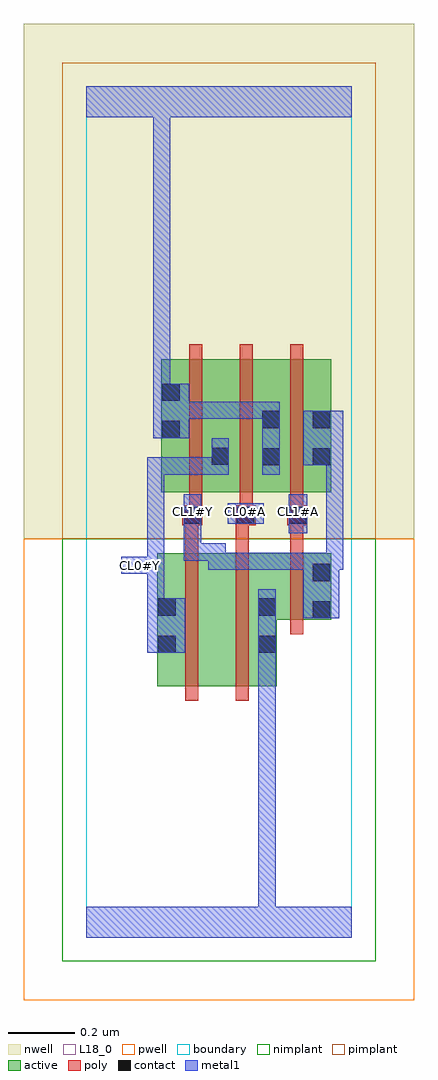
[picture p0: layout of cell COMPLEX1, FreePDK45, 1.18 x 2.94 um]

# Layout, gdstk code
import gdstk
lib = gdstk.Library(unit=1e-6, precision=1e-09)
def R(c, l, rs):  # rectangles x0, y0, x1, y1
    for r in rs: c.add(gdstk.rectangle(r[:2], r[2:], *l))
def A(c, l, x, y, w, h, nx, ny, dx, dy):  # array of equal rectangles
    R(c, l, [(x+i*dx, y+j*dy, x+i*dx+w, y+j*dy+h) for i in range(nx) for j in range(ny)])
active = (1, 0)
pwell = (2, 0)
nwell = (3, 0)
nimplant = (4, 0)
pimplant = (5, 0)
poly = (9, 0)
contact = (10, 0)
metal1 = (11, 0)
L18_0 = (18, 0)
boundary = (235, 0)

complex1 = lib.new_cell('COMPLEX1')
R(complex1, active, [(0.214,0.756,0.274,1.156), (0.214,0.756,0.394,1.156), (0.394,0.756,0.574,1.156), (0.514,0.756,0.574,1.156), (0.514,0.956,0.738,1.156), (0.678,0.956,0.738,1.156), (0.226,1.34,0.286,1.74), (0.226,1.34,0.434,1.74), (0.374,1.34,0.586,1.74), (0.374,1.34,0.434,1.644), (0.526,1.34,0.738,1.74), (0.526,1.34,0.586,1.644), (0.678,1.34,0.738,1.74)])
R(complex1, pwell, [(-0.188,-0.188,0.988,1.2)])
R(complex1, nwell, [(-0.188,1.2,0.988,2.748)])
R(complex1, nimplant, [(-0.072,-0.072,0.872,1.2)])
R(complex1, pimplant, [(-0.072,1.2,0.872,2.632)])
A(complex1, poly, 0.31, 1.26, 0.04, 0.076, 3, 1, 0.152, 0)
A(complex1, poly, 0.31, 1.296, 0.04, 0.488, 3, 1, 0.152, 0)
R(complex1, poly, [(0.298,0.712,0.338,1.2), (0.45,0.712,0.49,1.2), (0.614,0.912,0.654,1.2), (0.298,1.16,0.338,1.28), (0.45,1.16,0.49,1.28), (0.614,1.16,0.654,1.28), (0.29,1.24,0.35,1.3), (0.45,1.24,0.49,1.28), (0.45,1.24,0.49,1.28), (0.45,1.24,0.51,1.3), (0.606,1.24,0.666,1.3), (0.614,1.24,0.654,1.28), (0.614,1.24,0.654,1.28), (0.31,1.26,0.35,1.3), (0.31,1.26,0.35,1.3)])
R(complex1, contact, [(0.218,0.856,0.27,0.908), (0.518,0.856,0.57,0.908), (0.682,0.96,0.734,1.012), (0.218,0.968,0.27,1.02), (0.518,0.968,0.57,1.02), (0.682,1.072,0.734,1.124), (0.294,1.244,0.346,1.296), (0.454,1.244,0.506,1.296), (0.61,1.244,0.662,1.296), (0.53,1.42,0.582,1.472), (0.682,1.42,0.734,1.472), (0.378,1.422,0.43,1.474), (0.23,1.502,0.282,1.554), (0.53,1.532,0.582,1.584), (0.682,1.532,0.734,1.584), (0.23,1.614,0.282,1.666)])
R(complex1, metal1, [(0,0,0.8,0.092), (0.518,0.04,0.57,0.092), (0.518,0.04,0.57,0.092), (0.518,0.04,0.57,0.092), (0.518,0.04,0.57,0.092), (0.518,0.04,0.57,0.88), (0.518,0.828,0.57,0.88), (0.518,0.828,0.57,0.88), (0.518,0.828,0.57,0.88), (0.518,0.828,0.57,0.88), (0.518,0.828,0.57,0.88), (0.518,0.828,0.57,0.88), (0.518,0.828,0.57,0.88), (0.518,0.828,0.57,0.88), (0.518,0.828,0.57,1.048), (0.184,0.856,0.298,1.02), (0.654,0.96,0.762,1.124), (0.184,0.968,0.236,1.146), (0.71,1.072,0.762,1.158), (0.106,1.094,0.236,1.146), (0.184,1.094,0.236,1.444), (0.368,1.106,0.53,1.158), (0.368,1.106,0.42,1.186), (0.478,1.106,0.53,1.158), (0.478,1.106,0.53,1.158), (0.478,1.106,0.53,1.158), (0.478,1.106,0.762,1.158), (0.71,1.106,0.762,1.158), (0.71,1.106,0.762,1.158), (0.71,1.106,0.774,1.158), (0.722,1.106,0.774,1.472), (0.722,1.106,0.774,1.158), (0.722,1.106,0.774,1.158), (0.294,1.134,0.42,1.186), (0.294,1.134,0.346,1.334), (0.61,1.216,0.666,1.334), (0.426,1.244,0.534,1.306), (0.184,1.392,0.236,1.444), (0.184,1.392,0.236,1.444), (0.184,1.392,0.236,1.444), (0.184,1.392,0.236,1.444), (0.184,1.392,0.236,1.444), (0.184,1.392,0.43,1.444), (0.378,1.392,0.43,1.502), (0.53,1.392,0.582,1.612), (0.654,1.42,0.774,1.584), (0.202,1.502,0.31,1.666), (0.258,1.56,0.31,1.612), (0.258,1.56,0.31,1.612), (0.258,1.56,0.42,1.612), (0.368,1.56,0.42,1.612), (0.368,1.56,0.552,1.612), (0.5,1.56,0.552,1.612), (0.5,1.56,0.582,1.612), (0.202,1.614,0.254,1.666), (0.202,1.614,0.254,1.666), (0.202,1.614,0.254,1.666), (0.202,1.614,0.254,1.666), (0.202,1.614,0.254,1.666), (0.202,1.614,0.254,1.666), (0.202,1.614,0.254,1.666), (0.202,1.614,0.254,1.666), (0.202,1.614,0.254,1.666), (0.202,1.614,0.254,1.666), (0.202,1.614,0.254,1.666), (0.202,1.614,0.254,1.666), (0.202,1.614,0.254,2.52), (0,2.468,0.8,2.56), (0.202,2.468,0.254,2.52), (0.202,2.468,0.254,2.52), (0.202,2.468,0.254,2.52), (0.202,2.468,0.254,2.52)])
A(complex1, L18_0, 0.294, 1.254, 0.052, 0.052, 3, 1, 0.16, 0)
R(complex1, L18_0, [(0,0,0.8,0.092), (0.518,0.04,0.57,0.092), (0.518,0.04,0.57,0.092), (0.518,0.04,0.57,0.092), (0.518,0.04,0.57,0.092), (0.518,0.04,0.57,0.88), (0.518,0.828,0.57,0.88), (0.518,0.828,0.57,0.88), (0.518,0.828,0.57,0.88), (0.518,0.828,0.57,0.88), (0.518,0.828,0.57,0.88), (0.518,0.828,0.57,0.88), (0.518,0.828,0.57,0.88), (0.518,0.828,0.57,0.88), (0.518,0.828,0.57,1.048), (0.184,0.856,0.298,1.02), (0.654,0.96,0.762,1.124), (0.184,0.968,0.236,1.146), (0.71,1.072,0.762,1.158), (0.106,1.094,0.236,1.146), (0.134,1.094,0.186,1.146), (0.184,1.094,0.236,1.444), (0.368,1.106,0.42,1.186), (0.368,1.106,0.53,1.158), (0.478,1.106,0.53,1.158), (0.478,1.106,0.53,1.158), (0.478,1.106,0.53,1.158), (0.478,1.106,0.762,1.158), (0.71,1.106,0.762,1.158), (0.71,1.106,0.762,1.158), (0.71,1.106,0.774,1.158), (0.722,1.106,0.774,1.158), (0.722,1.106,0.774,1.158), (0.722,1.106,0.774,1.472), (0.294,1.134,0.346,1.334), (0.294,1.134,0.42,1.186), (0.61,1.216,0.666,1.334), (0.426,1.244,0.534,1.306), (0.184,1.392,0.236,1.444), (0.184,1.392,0.236,1.444), (0.184,1.392,0.236,1.444), (0.184,1.392,0.236,1.444), (0.184,1.392,0.236,1.444), (0.184,1.392,0.43,1.444), (0.378,1.392,0.43,1.502), (0.53,1.392,0.582,1.612), (0.654,1.42,0.774,1.584), (0.202,1.502,0.31,1.666), (0.258,1.56,0.31,1.612), (0.258,1.56,0.31,1.612), (0.258,1.56,0.42,1.612), (0.368,1.56,0.42,1.612), (0.368,1.56,0.552,1.612), (0.5,1.56,0.552,1.612), (0.5,1.56,0.582,1.612), (0.202,1.614,0.254,1.666), (0.202,1.614,0.254,1.666), (0.202,1.614,0.254,1.666), (0.202,1.614,0.254,1.666), (0.202,1.614,0.254,1.666), (0.202,1.614,0.254,1.666), (0.202,1.614,0.254,1.666), (0.202,1.614,0.254,1.666), (0.202,1.614,0.254,1.666), (0.202,1.614,0.254,1.666), (0.202,1.614,0.254,1.666), (0.202,1.614,0.254,1.666), (0.202,1.614,0.254,2.52), (0,2.468,0.8,2.56), (0.202,2.468,0.254,2.52), (0.202,2.468,0.254,2.52), (0.202,2.468,0.254,2.52), (0.202,2.468,0.254,2.52)])
R(complex1, boundary, [(0,0,0.8,2.56)])
complex1.add(gdstk.Label('CL0#A', (0.48,1.28), layer=11, texttype=0))
complex1.add(gdstk.Label('CL0#Y', (0.16,1.12), layer=11, texttype=0))
complex1.add(gdstk.Label('CL1#A', (0.64,1.28), layer=11, texttype=0))
complex1.add(gdstk.Label('CL1#Y', (0.32,1.28), layer=11, texttype=0))

lib.write_gds('COMPLEX1.gds')
